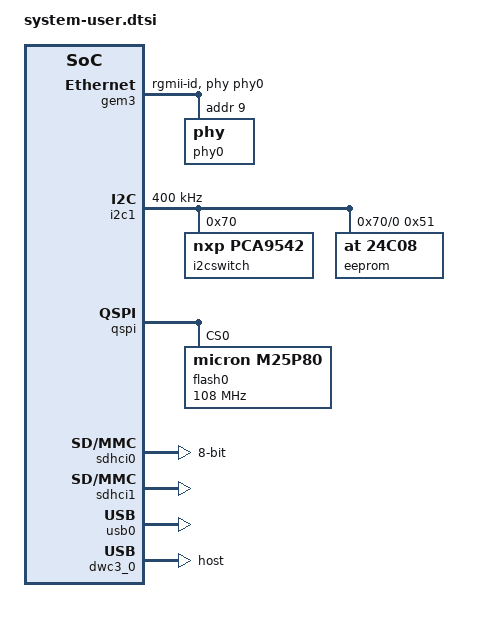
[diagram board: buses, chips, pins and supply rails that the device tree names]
/include/ "system-conf.dtsi"
/ {
	chosen {
       	       bootargs = "console=ttyPS0,115200 earlyprintk uio_pdrv_genirq.of_id=generic-uio strict-devmem=0";
	};

	reserved-memory {
		#address-cells = <2>;
		#size-cells = <2>;
		ranges;
		reserved: buffer@0 {
			compatible = "xlnx,reserved-memory";
			no-map;
			reg = <0x0 0x10000000 0x0 0x100000>;
			linux,cma-default;
		};
	};
};

&gem3 {
	status = "okay";
	local-mac-address = [00 0a 35 00 02 90];
	phy-mode = "rgmii-id";
	phy-handle = <&phy0>;
	phy0: phy@9 {
		reg = <0x9>;
		ti,rx-internal-delay = <0x5>;
		ti,tx-internal-delay = <0x5>;
		ti,fifo-depth = <0x1>;
	};
};

&i2c1 {
	status = "okay";
	clock-frequency = <400000>;

	i2cswitch@70 { /* U7 on UZ3EG SOM */
		compatible = "nxp,pca9542";
		#address-cells = <1>;
		#size-cells = <0>;
		reg = <0x70>;
		i2c@0 { /* i2c mw 70 0 1 */
			#address-cells = <1>;
			#size-cells = <0>;
			reg = <0>;
			/* IIC_EEPROM */
			eeprom@51 { /* U5 on UZ3EG IOCC and U7 on the UZ7EV EVCC*/
				compatible = "at,24c08";
				reg = <0x51>;
			};
		};
	};
};

&qspi {
	#address-cells = <1>;
	#size-cells = <0>;
	status = "okay";
	is-dual = <1>; /* Set for dual-parallel QSPI config */
	num-cs = <2>;
	xlnx,fb-clk = <0x1>;
	flash0: flash@0 {
        /* The Flash described below doesn't match our board ("micron,n25qu256a"), but is needed */
        /* so the Flash MTD partitions are correctly identified in /proc/mtd */
		compatible = "micron,m25p80"; /* 32MB */
		#address-cells = <1>;
		#size-cells = <1>;
		reg = <0x0>;
		spi-tx-bus-width = <1>;
		spi-rx-bus-width = <4>; /* FIXME also DUAL configuration possible */
		spi-max-frequency = <108000000>; /* Set to 108000000 Based on DC1 spec */
	};
};

/* SD0 eMMC, 8-bit wide data bus */
&sdhci0 {
	status = "okay";
	bus-width = <8>;
	max-frequency = <50000000>;
};

/* SD1 with level shifter */
&sdhci1 {
	status = "okay";
	max-frequency = <50000000>;
	no-1-8-v;	/* for 1.0 silicon */
};

/* ULPI SMSC USB3320 */
&usb0 {
	status = "okay";
};

&dwc3_0 {
	status = "okay";
	dr_mode = "host";
	phy-names = "usb3-phy";
};

&amba {
	usb1@ff9e0000 {
		dwc3@fe300000 {
		snps,enable_auto_retry;
		};
	};
};

&axi_dma_0 {
	compatible = "generic-uio";
	linux,uio-name = "axi_dma_0";
};

&adc_0 {
	compatible = "generic-uio";
	linux,uio-name = "adc_0";
};

&adc_1 {
	compatible = "generic-uio";
	linux,uio-name = "adc_1";
};

&adc_2 {
	compatible = "generic-uio";
	linux,uio-name = "adc_2";
};

&adc_3 {
	compatible = "generic-uio";
	linux,uio-name = "adc_3";
};

&digital_inputs_0 {
	compatible = "generic-uio";
	linux,uio-name = "digital_inputs_0";
};

&global_config_regs_0 {
	compatible = "generic-uio";
	linux,uio-name = "global_config_regs_0";
};

&imu_0 {
	compatible = "generic-uio";
	linux,uio-name = "imu_0";
};

&traffic_generator_0 {
	compatible = "generic-uio";
	linux,uio-name = "traffic_generator_0";
};

&frame_trig_gen_0{
	compatible = "generic-uio";
	linux,uio-name = "frame_trig_gen_0";
};

&frame_trig_gen_1{
	compatible = "generic-uio";
	linux,uio-name = "frame_trig_gen_1";
};
